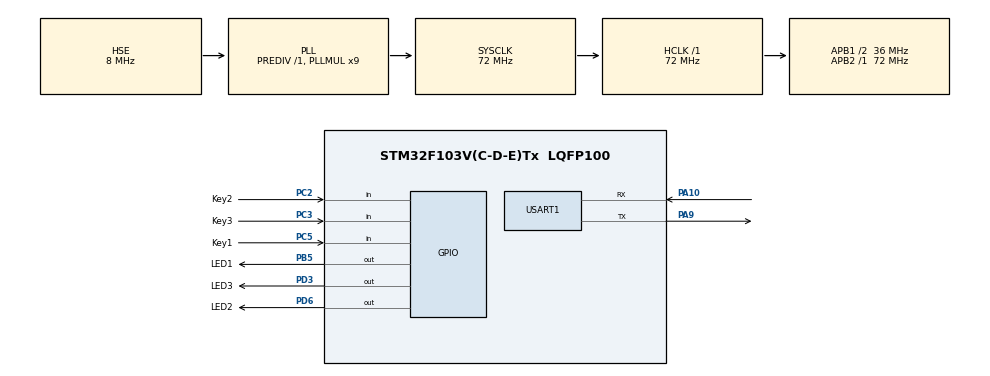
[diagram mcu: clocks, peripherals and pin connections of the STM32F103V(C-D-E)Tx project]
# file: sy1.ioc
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FREERTOS.Queues01=Queue,10,uint8_t,0,Dynamic,NULL,NULL
FREERTOS.Tasks01=defaultTask,24,128,StartDefaultTask,Default,NULL,Dynamic,NULL,NULL;KeyTask,24,128,StartKeyTask,Default,NULL,Dynamic,NULL,NULL;LEDTask,8,128,StartLED1Task,Default,NULL,Dynamic,NULL,NULL;UartTask,24,128,StartUartTask,Default,NULL,Dynamic,NULL,NULL
FREERTOS.configTOTAL_HEAP_SIZE=5120
Mcu.Family=STM32F1
Mcu.Name=STM32F103V(C-D-E)Tx
Mcu.Package=LQFP100
NVIC.PriorityGroup=NVIC_PRIORITYGROUP_4
NVIC.TIM4_IRQn=true\:15\:0\:false\:false\:true\:false\:false\:true\:true
NVIC.TimeBase=TIM4_IRQn
NVIC.TimeBaseIP=TIM4
NVIC.USART1_IRQn=true\:5\:0\:false\:false\:true\:true\:true\:true\:true
OSC_IN.Mode=HSE-External-Oscillator
OSC_IN.Signal=RCC_OSC_IN
OSC_OUT.Mode=HSE-External-Oscillator
OSC_OUT.Signal=RCC_OSC_OUT
PA10.Mode=Asynchronous
PA10.Signal=USART1_RX
PA13.Mode=Serial_Wire
PA13.Signal=SYS_JTMS-SWDIO
PA14.Mode=Serial_Wire
PA14.Signal=SYS_JTCK-SWCLK
PA9.Mode=Asynchronous
PA9.Signal=USART1_TX
PB5.GPIO_Label=LED1
PB5.GPIO_Speed=GPIO_SPEED_FREQ_HIGH
PB5.Signal=GPIO_Output
PC2.GPIO_Label=Key2
PC2.GPIO_PuPd=GPIO_PULLUP
PC2.Signal=GPIO_Input
PC3.GPIO_Label=Key3
PC3.GPIO_PuPd=GPIO_PULLUP
PC3.Signal=GPIO_Input
PC5.GPIO_Label=Key1
PC5.GPIO_PuPd=GPIO_PULLUP
PC5.Signal=GPIO_Input
PD3.GPIO_Label=LED3
PD3.GPIO_Speed=GPIO_SPEED_FREQ_HIGH
PD3.Signal=GPIO_Output
PD6.GPIO_Label=LED2
PD6.GPIO_Speed=GPIO_SPEED_FREQ_HIGH
PD6.Signal=GPIO_Output
ProjectManager.HeapSize=0x200
ProjectManager.StackSize=0x400
ProjectManager.TargetToolchain=MDK-ARM V5.32
RCC.AHBFreq_Value=72000000
RCC.APB1CLKDivider=RCC_HCLK_DIV2
RCC.APB1Freq_Value=36000000
RCC.APB1TimFreq_Value=72000000
RCC.APB2Freq_Value=72000000
RCC.APB2TimFreq_Value=72000000
RCC.HCLKFreq_Value=72000000
RCC.PLLMUL=RCC_PLL_MUL9
RCC.PLLSourceVirtual=RCC_PLLSOURCE_HSE
RCC.SYSCLKFreq_VALUE=72000000
RCC.SYSCLKSource=RCC_SYSCLKSOURCE_PLLCLK
RCC.USBFreq_Value=72000000
USART1.VirtualMode=VM_ASYNC
VP_FREERTOS_VS_CMSIS_V2.Mode=CMSIS_V2
VP_SYS_VS_tim4.Mode=TIM4
board=custom

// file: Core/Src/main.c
/* USER CODE BEGIN Header */
/**
  ******************************************************************************
  * @file           : main.c
  * @brief          : Main program body
  ******************************************************************************
  * @attention
  *
  * Copyright (c) 2026 STMicroelectronics.
  * All rights reserved.
  *
  * This software is licensed under terms that can be found in the LICENSE file
  * in the root directory of this software component.
  * If no LICENSE file comes with this software, it is provided AS-IS.
  *
  ******************************************************************************
  */
/* USER CODE END Header */
#include "main.h"
#include "cmsis_os.h"
#include "usart.h"
#include "gpio.h"

void SystemClock_Config(void);
void MX_FREERTOS_Init(void);

int main(void)
{

  /* MCU Configuration--------------------------------------------------------*/

  /* Reset of all peripherals, Initializes the Flash interface and the Systick. */
  HAL_Init();

  /* Configure the system clock */
  SystemClock_Config();

  /* Initialize all configured peripherals */
  MX_GPIO_Init();
  MX_USART1_UART_Init();

  /* Init scheduler */
  osKernelInitialize();  /* Call init function for freertos objects (in cmsis_os2.c) */
  MX_FREERTOS_Init();

  /* Start scheduler */
  osKernelStart();

  /* We should never get here as control is now taken by the scheduler */

  /* Infinite loop */
  while (1)
  {

  }
}

void SystemClock_Config(void)
{
  RCC_OscInitTypeDef RCC_OscInitStruct = {0};
  RCC_ClkInitTypeDef RCC_ClkInitStruct = {0};

  /** Initializes the RCC Oscillators according to the specified parameters
  * in the RCC_OscInitTypeDef structure.
  */
  RCC_OscInitStruct.OscillatorType = RCC_OSCILLATORTYPE_HSE;
  RCC_OscInitStruct.HSEState = RCC_HSE_ON;
  RCC_OscInitStruct.HSEPredivValue = RCC_HSE_PREDIV_DIV1;
  RCC_OscInitStruct.HSIState = RCC_HSI_ON;
  RCC_OscInitStruct.PLL.PLLState = RCC_PLL_ON;
  RCC_OscInitStruct.PLL.PLLSource = RCC_PLLSOURCE_HSE;
  RCC_OscInitStruct.PLL.PLLMUL = RCC_PLL_MUL9;
  if (HAL_RCC_OscConfig(&RCC_OscInitStruct) != HAL_OK)
  {
    Error_Handler();
  }

  /** Initializes the CPU, AHB and APB buses clocks
  */
  RCC_ClkInitStruct.ClockType = RCC_CLOCKTYPE_HCLK|RCC_CLOCKTYPE_SYSCLK
                              |RCC_CLOCKTYPE_PCLK1|RCC_CLOCKTYPE_PCLK2;
  RCC_ClkInitStruct.SYSCLKSource = RCC_SYSCLKSOURCE_PLLCLK;
  RCC_ClkInitStruct.AHBCLKDivider = RCC_SYSCLK_DIV1;
  RCC_ClkInitStruct.APB1CLKDivider = RCC_HCLK_DIV2;
  RCC_ClkInitStruct.APB2CLKDivider = RCC_HCLK_DIV1;

  if (HAL_RCC_ClockConfig(&RCC_ClkInitStruct, FLASH_LATENCY_2) != HAL_OK)
  {
    Error_Handler();
  }
}

void HAL_TIM_PeriodElapsedCallback(TIM_HandleTypeDef *htim)
{
  if (htim->Instance == TIM4)
  {
    HAL_IncTick();
  }
}

void Error_Handler(void)
{
  __disable_irq();
  while (1)
  {
  }
}

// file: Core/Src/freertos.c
/* USER CODE BEGIN Header */
/**
  ******************************************************************************
  * File Name          : freertos.c
  * Description        : Code for freertos applications
  ******************************************************************************
  * @attention
  *
  * Copyright (c) 2026 STMicroelectronics.
  * All rights reserved.
  *
  * This software is licensed under terms that can be found in the LICENSE file
  * in the root directory of this software component.
  * If no LICENSE file comes with this software, it is provided AS-IS.
  *
  ******************************************************************************
  */
/* USER CODE END Header */

#include "FreeRTOS.h"
#include "task.h"
#include "main.h"
#include "cmsis_os.h"

/* USER CODE BEGIN Includes */
#include "usart.h"
#include <string.h>
#include <stdio.h>
/* USER CODE END Includes */

/* USER CODE BEGIN PD */
/* 按键事件标志位定义 */
#define EVT_KEY1    (1U << 0)  /* KEY1: 切换流水方向 */
#define EVT_KEY2    (1U << 1)  /* KEY2: 增加流水速率 */
#define EVT_KEY3    (1U << 2)  /* KEY3: 暂停/恢复 */

/* UART 状态更新事件标志（LEDTask 通知 UartTask） */
#define EVT_UART_UPD (1U << 0)

#define DELAY_INIT  100  /* 初始延时 100ms = 10Hz */
#define DELAY_STEP  30   /* 每次按键减少 30ms 不下溢出*/
#define DELAY_MIN   20   /* 最小延时 20ms */
/* USER CODE END PD */

/* USER CODE BEGIN Variables */
/* 共享状态：LEDTask 更新，UartTask 读取 */
volatile int8_t   g_direction = 1;     /* 1=正向, -1=反向 */
volatile int8_t   g_running = 1;       /* 1=运行, 0=暂停 */
volatile uint32_t g_delay_ms = DELAY_INIT; /* 当前延时 */
/* USER CODE END Variables */
/* Definitions for KeyTask */
osThreadId_t KeyTaskHandle;
const osThreadAttr_t KeyTask_attributes = {
  .name = "KeyTask",
  .stack_size = 128 * 4,
  .priority = (osPriority_t) osPriorityNormal,
};
/* Definitions for LEDTask */
osThreadId_t LEDTaskHandle;
const osThreadAttr_t LEDTask_attributes = {
  .name = "LEDTask",
  .stack_size = 128 * 4,
  .priority = (osPriority_t) osPriorityLow,
};
/* Definitions for UartTask */
osThreadId_t UartTaskHandle;
const osThreadAttr_t UartTask_attributes = {
  .name = "UartTask",
  .stack_size = 128 * 4,
  .priority = (osPriority_t) osPriorityNormal,
};

void StartKeyTask(void *argument);
void StartLEDTask(void *argument);
void StartUartTask(void *argument);

void MX_FREERTOS_Init(void); /* (MISRA C 2004 rule 8.1) */

void MX_FREERTOS_Init(void) {

  /* Create the thread(s) */
  KeyTaskHandle  = osThreadNew(StartKeyTask,  NULL, &KeyTask_attributes);
  LEDTaskHandle  = osThreadNew(StartLEDTask,  NULL, &LEDTask_attributes);
  UartTaskHandle = osThreadNew(StartUartTask, NULL, &UartTask_attributes);

}

/* USER CODE BEGIN Header_StartKeyTask */
/**
* @brief Function implementing the KeyTask thread.
*        轮询 KEY1/KEY2/KEY3，按下时通过 osThreadFlagsSet 通知 LEDTask
* @param argument: Not used
* @retval None
*/
/* USER CODE END Header_StartKeyTask */
void StartKeyTask(void *argument)
{
  /* USER CODE BEGIN StartKeyTask */
  uint8_t key1_prev = 1, key2_prev = 1, key3_prev = 1;
  uint8_t key1_cur, key2_cur, key3_cur;

  /* Infinite loop */
  for(;;)
  {
    /* 读取按键状态（低电平有效，未按下时为高） */
    key1_cur = HAL_GPIO_ReadPin(Key1_GPIO_Port, Key1_Pin);
    key2_cur = HAL_GPIO_ReadPin(Key2_GPIO_Port, Key2_Pin);
    key3_cur = HAL_GPIO_ReadPin(Key3_GPIO_Port, Key3_Pin);

    /* KEY1 下降沿检测：从高变低说明按下 */
    if (key1_prev == 1 && key1_cur == 0)
      osThreadFlagsSet(LEDTaskHandle, EVT_KEY1);

    /* KEY2 下降沿检测 */
    if (key2_prev == 1 && key2_cur == 0)
      osThreadFlagsSet(LEDTaskHandle, EVT_KEY2);

    /* KEY3 下降沿检测 */
    if (key3_prev == 1 && key3_cur == 0)
      osThreadFlagsSet(LEDTaskHandle, EVT_KEY3);

    /* 保存当前按键状态，供下一轮比较 */
    key1_prev = key1_cur;
    key2_prev = key2_cur;
    key3_prev = key3_cur;

    osDelay(20);  /* 20ms 消抖周期 */
  }
  /* USER CODE END StartKeyTask */
}

/* USER CODE BEGIN Header_StartLEDTask */
/**
* @brief Function implementing the LEDTask thread.
*        接收事件标志控制流水灯，状态变化时通知 UartTask
* @param argument: Not used
* @retval None
*/
/* USER CODE END Header_StartLEDTask */
void StartLEDTask(void *argument)
{
  /* USER CODE BEGIN StartLEDTask */
  uint32_t flags;
  uint8_t step = 0;
  int8_t current_led = -1;  /* 当前点亮的 LED 索引，-1 表示初始状态 */

  /* 流水灯 GPIO 引脚表 */
  const struct {
    GPIO_TypeDef *port;
    uint16_t pin;
  } leds[3] = {
    {LED1_GPIO_Port, LED1_Pin},
    {LED2_GPIO_Port, LED2_Pin},
    {LED3_GPIO_Port, LED3_Pin},
  };

  /* Infinite loop */
  for(;;)
  {
    /* 等待事件标志：任意按键事件 或 当前延时超时
       返回值高位为1表示超时/错误，否则返回的是置位的标志位 */
    flags = osThreadFlagsWait(EVT_KEY1 | EVT_KEY2 | EVT_KEY3,
                              osFlagsWaitAny,
                              pdMS_TO_TICKS(g_delay_ms));

    if (!(flags > 0x80000000U))  /* 收到有效事件 */
    {
      if (flags & EVT_KEY1)
      {
        g_direction = -g_direction;         /* 切换方向 */
        osThreadFlagsSet(UartTaskHandle, EVT_UART_UPD);  /* 通知 UartTask */
      }

      if (flags & EVT_KEY2)
      {
        uint32_t old_delay = g_delay_ms;
        g_delay_ms -= DELAY_STEP;           /* 增加速率（减小延时） */
        if (g_delay_ms < DELAY_MIN)
          g_delay_ms = DELAY_INIT;          /* 超过阈值回到初始速率 */
        if (old_delay != g_delay_ms)        /* 延时确实变化才通知 */
          osThreadFlagsSet(UartTaskHandle, EVT_UART_UPD);
      }

      if (flags & EVT_KEY3)
      {
        g_running = !g_running;             /* 暂停/恢复切换 */
        osThreadFlagsSet(UartTaskHandle, EVT_UART_UPD);
      }
    }

    /* 暂停时跳过LED操作，继续等待下一次事件 */
    if (!g_running)
      continue;

    /* 计算本次要点亮的 LED 编号 */
    int8_t next_led;
    if (g_direction == 1)
      next_led = step;
    else
      next_led = 2 - step;

    /* 如果目标 LED 和当前亮着的相同，就无需操作 */
    if (next_led != current_led) {
      /* 先关闭上一个 LED */
      if (current_led >= 0)
        HAL_GPIO_WritePin(leds[current_led].port, leds[current_led].pin, GPIO_PIN_RESET);

      /* 再打开本次要点亮的 LED */
      HAL_GPIO_WritePin(leds[next_led].port, leds[next_led].pin, GPIO_PIN_SET);

      current_led = next_led;
    }

    /* 步进到下一个LED */
    step = (step + 1) % 3;
  }
  /* USER CODE END StartLEDTask */
}

/* USER CODE BEGIN Header_StartUartTask */
/**
* @brief Function implementing the UartTask thread.
*        收到事件标志后通过串口发送当前流水灯状态
* @param argument: Not used
* @retval None
*/
/* USER CODE END Header_StartUartTask */
void StartUartTask(void *argument)
{
  /* USER CODE BEGIN StartUartTask */
  /* Infinite loop */
  for(;;)
  {
    /* 等待 LEDTask 发来的状态更新通知，永久等待 */
    osThreadFlagsWait(EVT_UART_UPD, osFlagsWaitAny, osWaitForever);

    /* 根据全局状态变量发送对应的中文提示 */
    if (!g_running)
    {
      char msg[] = "已暂停\r\n";
      HAL_UART_Transmit(&huart1, (uint8_t*)msg, strlen(msg), 100);
    }
    else if (g_direction == 1 && g_delay_ms >= DELAY_INIT)
    {
      char msg[] = "正在正向运行中.....\r\n";
      HAL_UART_Transmit(&huart1, (uint8_t*)msg, strlen(msg), 100);
    }
    else if (g_direction == -1 && g_delay_ms >= DELAY_INIT)
    {
      char msg[] = "正在反向运行中.....\r\n";
      HAL_UART_Transmit(&huart1, (uint8_t*)msg, strlen(msg), 100);
    }
    else if (g_direction == 1 && g_delay_ms < DELAY_INIT)
    {
      char msg[] = "正向加速中.....\r\n";
      HAL_UART_Transmit(&huart1, (uint8_t*)msg, strlen(msg), 100);
    }
    else if (g_direction == -1 && g_delay_ms < DELAY_INIT)
    {
      char msg[] = "反向加速中.....\r\n";
      HAL_UART_Transmit(&huart1, (uint8_t*)msg, strlen(msg), 100);
    }
  }
  /* USER CODE END StartUartTask */
}
